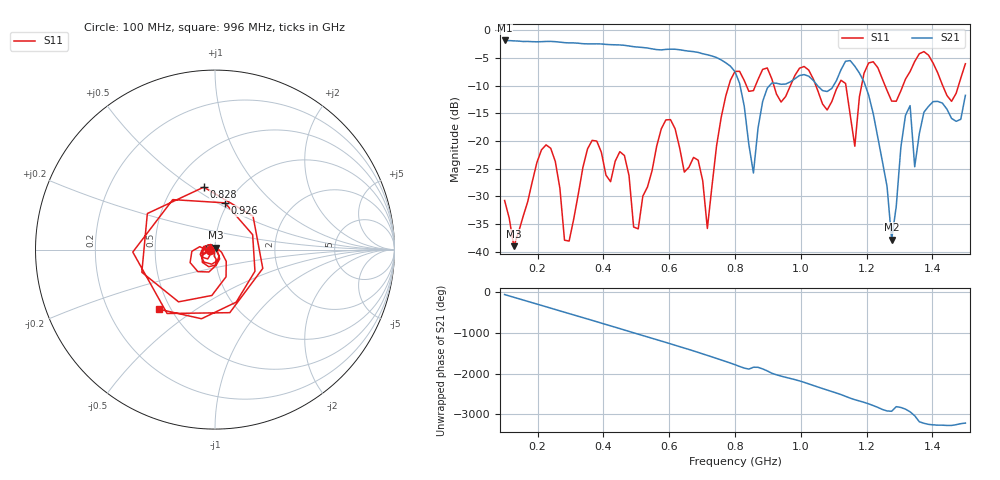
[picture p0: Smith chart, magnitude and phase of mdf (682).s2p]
! NanoVNA-App
! Date: 2025-09-25 15:43:43
! Start: 100MHz Stop: 1,5GHz Points: 101
! S-Parameter data: F S11 S21 S12 S22
# Hz S RI R 50
!  Frequency  S11_Real  S11_Imag  S21_Real  S21_Imag  S12_Real  S12_Imag  S22_Real  S22_Imag
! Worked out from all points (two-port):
!   101 points, 100 MHz to 1.5 GHz, reference 50 ohm
!   highest |S21| = -1.80 dB at 100 MHz (marker M1); lowest = -37.8 dB at 1.276 GHz (marker M2)
!   |S21| within 3 dB of the highest: start of sweep to 739.5 MHz
!   lowest |S11| = -39.0 dB at 128 MHz (marker M3), VSWR 1.02, Z = 50.3 + j1.08 ohm
!   |S11| at or under -10 dB: start of sweep to 781 MHz; 918.3 MHz to 968.1 MHz (49.78 MHz wide, 5.28 % of centre); 1.046 GHz to 1.113 GHz (67.49 MHz wide, 6.25 % of centre) (the widest 3 of 7)
!   S12 and S22 are empty: the file has one direction only
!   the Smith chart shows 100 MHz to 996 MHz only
!   S11 on the Smith chart (normalised r, x): 100 MHz: 0.94, -0.01; 828 MHz: 0.70, +0.56; 926 MHz: 0.97, +0.54; 996 MHz: 0.43, -0.36
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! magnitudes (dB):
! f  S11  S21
! 100 MHz  -30.7  -1.8
! 128 MHz  -39.0  -1.9
! 212 MHz  -21.6  -2.0
! 282 MHz  -37.9  -2.2
! 338 MHz  -24.7  -2.4
! 464 MHz  -22.6  -2.7
! 506 MHz  -35.9  -3.0
! 576 MHz  -17.8  -3.5
! 688 MHz  -23.4  -4.0
! 716 MHz  -35.8  -4.4
! 800 MHz  -7.4  -7.4
! 828 MHz  -9.0  -13.6
! 856 MHz  -10.9  -25.8
! 926 MHz  -11.5  -9.5
! 996 MHz  -6.8  -8.1
! 1.038 GHz  -8.8  -9.0
! 1.164 GHz  -20.9  -6.5
! 1.192 GHz  -7.7  -9.3
! 1.276 GHz  -12.8  -37.8
! 1.332 GHz  -7.4  -13.6
! 1.346 GHz  -5.6  -24.6
! 1.5 GHz  -6.0  -11.7
